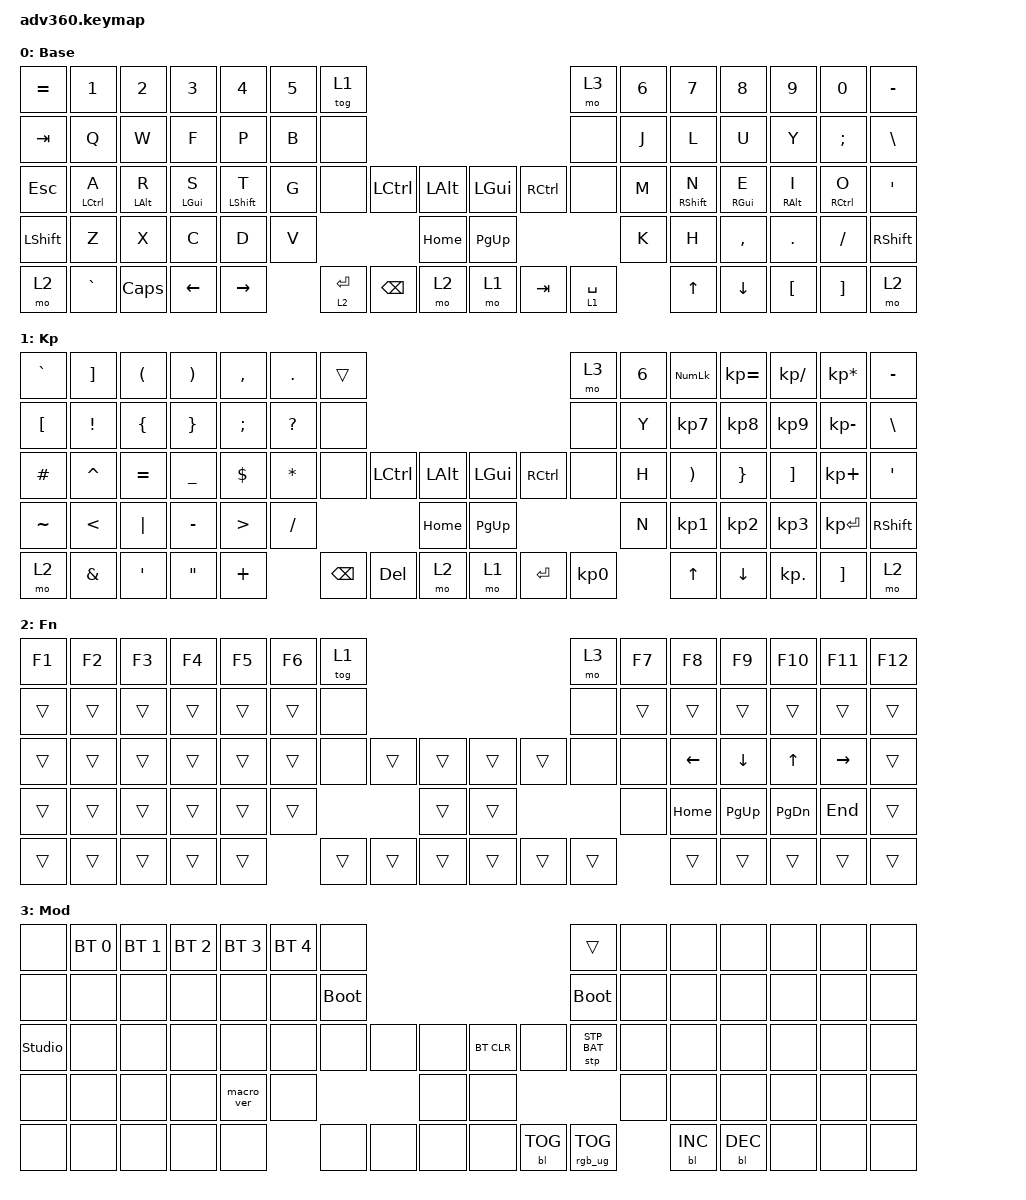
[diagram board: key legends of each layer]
#include <dt-bindings/zmk/stp.h>
#include <behaviors.dtsi>
#include <dt-bindings/zmk/backlight.h>
#include <dt-bindings/zmk/bt.h>
#include <dt-bindings/zmk/keys.h>
#include <dt-bindings/zmk/rgb.h>

/ {
    behaviors {
        #include "macros.dtsi"
      #include "version.dtsi"

        hmr_i: homerow_mods {
            compatible = "zmk,behavior-hold-tap";
            label = "HOMEROW_MODS";
            #binding-cells = <2>;
            tapping-term-ms = <210>;
            flavor = "tap-preferred";
            bindings = <&kp>, <&kp>;

            quick-tap-ms = <350>;
            require-prior-idle-ms = <150>;
            hold-trigger-on-release;
            hold-trigger-key-positions = <15 16 1 4 5 3 2 17 18 19 33 32 31 30 29 47 48 50 49 51 65 66 35 36 52 67 47 61 62 63 64>;
        };

        hml_i: hml_i {
            compatible = "zmk,behavior-hold-tap";
            label = "HML_I";
            #binding-cells = <2>;
            tapping-term-ms = <210>;
            flavor = "tap-preferred";
            bindings = <&kp>, <&kp>;

            quick-tap-ms = <350>;
            require-prior-idle-ms = <150>;
            hold-trigger-on-release;
            hold-trigger-key-positions = <22 23 24 26 25 44 43 42 41 40 54 55 56 57 58 12 11 10 9 8 37 38 53 68 69 70 71 72 73 74>;
        };

        hmr_m: hmr_m {
            compatible = "zmk,behavior-hold-tap";
            label = "HMR_M";
            #binding-cells = <2>;
            tapping-term-ms = <260>;
            flavor = "tap-preferred";
            bindings = <&kp>, <&kp>;

            quick-tap-ms = <350>;
            require-prior-idle-ms = <200>;
            hold-trigger-on-release;
            hold-trigger-key-positions = <15 16 1 4 5 3 2 17 18 19 33 32 31 30 29 47 48 50 49 51 65 66 35 36 52 67 47 61 62 63 64>;
        };

        hmr_r: hmr_r {
            compatible = "zmk,behavior-hold-tap";
            label = "HMR_R";
            #binding-cells = <2>;
            tapping-term-ms = <290>;
            flavor = "tap-preferred";
            bindings = <&kp>, <&kp>;

            quick-tap-ms = <350>;
            require-prior-idle-ms = <200>;
            hold-trigger-on-release;
            hold-trigger-key-positions = <15 16 1 4 5 3 2 17 18 19 33 32 31 30 29 47 48 50 49 51 65 66 35 36 52 67 47 61 62 63 64>;
        };

        hmr_p: hmr_p {
            compatible = "zmk,behavior-hold-tap";
            label = "HMR_P";
            #binding-cells = <2>;
            tapping-term-ms = <330>;
            flavor = "tap-preferred";
            bindings = <&kp>, <&kp>;

            quick-tap-ms = <350>;
            require-prior-idle-ms = <200>;
            hold-trigger-on-release;
            hold-trigger-key-positions = <15 16 1 4 5 3 2 17 18 19 33 32 31 30 29 47 48 50 49 51 65 66 35 36 52 67 47 61 62 63 64>;
        };

        hml_m: hml_m {
            compatible = "zmk,behavior-hold-tap";
            label = "HML_M";
            #binding-cells = <2>;
            tapping-term-ms = <260>;
            flavor = "tap-preferred";
            bindings = <&kp>, <&kp>;

            quick-tap-ms = <350>;
            require-prior-idle-ms = <200>;
            hold-trigger-on-release;
            hold-trigger-key-positions = <22 23 24 26 25 44 43 42 41 40 54 55 56 57 58 12 11 10 9 8 37 38 53 68 69 70 71 72 73 74>;
        };

        hml_p: hml_p {
            compatible = "zmk,behavior-hold-tap";
            label = "HML_P";
            #binding-cells = <2>;
            tapping-term-ms = <330>;
            flavor = "tap-preferred";
            bindings = <&kp>, <&kp>;

            quick-tap-ms = <350>;
            require-prior-idle-ms = <200>;
            hold-trigger-on-release;
            hold-trigger-key-positions = <22 23 24 26 25 44 43 42 41 40 54 55 56 57 58 12 11 10 9 8 37 38 53 68 69 70 71 72 73 74>;
        };

        hml_r: hml_r {
            compatible = "zmk,behavior-hold-tap";
            label = "HML_R";
            #binding-cells = <2>;
            tapping-term-ms = <290>;
            flavor = "tap-preferred";
            bindings = <&kp>, <&kp>;

            quick-tap-ms = <350>;
            require-prior-idle-ms = <200>;
            hold-trigger-on-release;
            hold-trigger-key-positions = <22 23 24 26 25 44 43 42 41 40 54 55 56 57 58 12 11 10 9 8 37 38 53 68 69 70 71 72 73 74>;
        };

        thumb: thumb {
            compatible = "zmk,behavior-hold-tap";
            label = "THUMB";
            #binding-cells = <2>;
            tapping-term-ms = <300>;
            flavor = "balanced";
            bindings = <&kp>, <&kp>;

            quick-tap-ms = <300>;
            require-prior-idle-ms = <150>;
            hold-trigger-on-release;
        };

        space: space {
            compatible = "zmk,behavior-hold-tap";
            label = "SPACE";
            #binding-cells = <2>;
            tapping-term-ms = <350>;
            flavor = "balanced";
            bindings = <&mo>, <&kp>;

            quick-tap-ms = <150>;
            require-prior-idle-ms = <150>;
            hold-trigger-on-release;
        };
    };

    keymap {
        compatible = "zmk,keymap";

        default_layer {
            display-name = "Base";
            bindings = <
&kp EQUAL  &kp N1                 &kp N2             &kp N3             &kp N4               &kp N5  &tog 1                                                             &mo 3           &kp N6  &kp N7                &kp N8              &kp N9              &kp N0                  &kp MINUS
&kp TAB    &kp Q                  &kp W              &kp F              &kp P                &kp B   &none                                                              &none           &kp J   &kp L                 &kp U               &kp Y               &kp SEMICOLON           &kp BSLH
&kp ESC    &hml_p LEFT_CONTROL A  &hml_r LEFT_ALT R  &hml_m LEFT_GUI S  &hml_i LEFT_SHIFT T  &kp G   &none           &kp LCTRL      &kp LALT      &kp LGUI   &kp RCTRL  &none           &kp M   &hmr_i RIGHT_SHIFT N  &hmr_m RIGHT_GUI E  &hmr_i RIGHT_ALT I  &hmr_p RIGHT_CONTROL O  &kp SQT
&kp LSHFT  &kp Z                  &kp X              &kp C              &kp D                &kp V                                  &kp HOME      &kp PG_UP                             &kp K   &kp H                 &kp COMMA           &kp DOT             &kp FSLH                &kp RSHFT
&mo 2      &kp GRAVE              &kp CAPS           &kp LEFT           &kp RIGHT                    &space 2 ENTER  &kp BACKSPACE  &mo 2         &mo 1      &kp TAB    &space 1 SPACE          &kp UP                &kp DOWN            &kp LBKT            &kp RBKT                &mo 2
            >;
        };

        Symbols {
            display-name = "Kp";
            bindings = <
&kp GRAVE         &kp RIGHT_BRACKET  &kp LEFT_PARENTHESIS  &kp RIGHT_PARENTHESIS  &kp COMMA         &kp PERIOD    &trans                                                   &mo 3      &kp N6  &kp KP_NUM             &kp KP_EQUAL     &kp KP_DIVIDE      &kp KP_MULTIPLY  &kp MINUS
&kp LEFT_BRACKET  &kp EXCLAMATION    &kp LEFT_BRACE        &kp RIGHT_BRACE        &kp SEMI          &kp QUESTION  &none                                                    &none      &kp Y   &kp KP_N7              &kp KP_N8        &kp KP_N9          &kp KP_MINUS     &kp BSLH
&kp HASH          &kp CARET          &kp EQUAL             &kp UNDERSCORE         &kp DOLLAR        &kp ASTRK     &none     &kp LCTRL  &kp LALT      &kp LGUI   &kp RCTRL  &none      &kp H   &kp RIGHT_PARENTHESIS  &kp RIGHT_BRACE  &kp RIGHT_BRACKET  &kp KP_PLUS      &kp SQT
&kp TILDE         &kp LESS_THAN      &kp PIPE              &kp MINUS              &kp GREATER_THAN  &kp SLASH                          &kp HOME      &kp PG_UP                        &kp N   &kp KP_N1              &kp KP_N2        &kp KP_N3          &kp KP_ENTER     &kp RSHFT
&mo 2             &kp AMPERSAND      &kp SQT               &kp DOUBLE_QUOTES      &kp PLUS                        &kp BSPC  &kp DEL    &mo 2         &mo 1      &kp ENTER  &kp KP_N0          &kp UP                 &kp DOWN         &kp KP_DOT         &kp RBKT         &mo 2
            >;
        };

        nav {
            display-name = "Fn";
            bindings = <
&kp F1  &kp F2  &kp F3  &kp F4  &kp F5  &kp F6  &tog 1                                      &mo 3   &kp F7  &kp F8    &kp F9       &kp F10        &kp F11    &kp F12
&trans  &trans  &trans  &trans  &trans  &trans  &none                                       &none   &trans  &trans    &trans       &trans         &trans     &trans
&trans  &trans  &trans  &trans  &trans  &trans  &none   &trans  &trans      &trans  &trans  &none   &none   &kp LEFT  &kp DOWN     &kp UP_ARROW   &kp RIGHT  &trans
&trans  &trans  &trans  &trans  &trans  &trans                  &trans      &trans                  &none   &kp HOME  &kp PAGE_UP  &kp PAGE_DOWN  &kp END    &trans
&trans  &trans  &trans  &trans  &trans          &trans  &trans  &trans      &trans  &trans  &trans          &trans    &trans       &trans         &trans     &trans
            >;
        };

        mod {
            display-name = "Mod";
            bindings = <
&none           &bt BT_SEL 0  &bt BT_SEL 1  &bt BT_SEL 2  &bt BT_SEL 3  &bt BT_SEL 4  &none                                                  &trans           &none  &none       &none       &none  &none  &none
&none           &none         &none         &none         &none         &none         &bootloader                                            &bootloader      &none  &none       &none       &none  &none  &none
&studio_unlock  &none         &none         &none         &none         &none         &none        &none  &none      &bt BT_CLR  &none       &stp STP_BAT     &none  &none       &none       &none  &none  &none
&none           &none         &none         &none         &macro_ver    &none                             &none      &none                                    &none  &none       &none       &none  &none  &none
&none           &none         &none         &none         &none                       &none        &none  &none      &none       &bl BL_TOG  &rgb_ug RGB_TOG         &bl BL_INC  &bl BL_DEC  &none  &none  &none
            >;
        };

        extra1 {
            display-name = "Red";
            status = "reserved";
        };

        extra2 {
            display-name = "Purple";
            status = "reserved";
        };

        extra3 {
            display-name = "Cyan";
            status = "reserved";
        };

        extra4 {
            display-name = "Yellow";
            status = "reserved";
        };
    };
};
